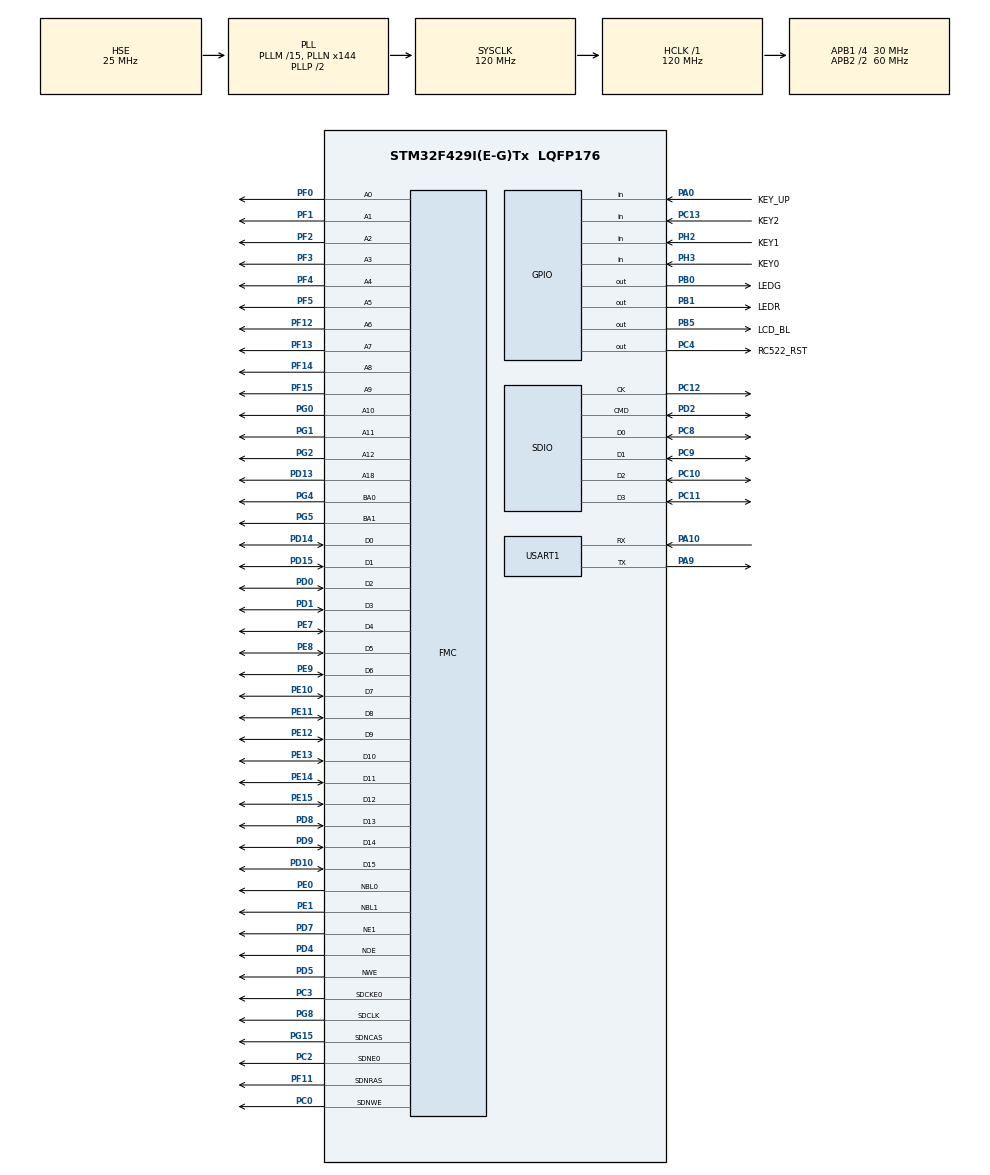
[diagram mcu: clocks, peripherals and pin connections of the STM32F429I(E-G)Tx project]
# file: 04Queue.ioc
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DMA2D.AlphaModeForeground=DMA2D_REPLACE_ALPHA
DMA2D.ColorMode=DMA2D_OUTPUT_RGB565
DMA2D.InputColorModeBackground=DMA2D_INPUT_RGB565
DMA2D.InputColorModeForeground=DMA2D_INPUT_A4
DMA2D.Mode=DMA2D_M2M_BLEND
Dma.MEMTOMEM.1.Direction=DMA_MEMORY_TO_MEMORY
Dma.MEMTOMEM.1.FIFOMode=DMA_FIFOMODE_ENABLE
Dma.MEMTOMEM.1.FIFOThreshold=DMA_FIFO_THRESHOLD_FULL
Dma.MEMTOMEM.1.Instance=DMA2_Stream0
Dma.MEMTOMEM.1.MemBurst=DMA_MBURST_SINGLE
Dma.MEMTOMEM.1.MemDataAlignment=DMA_MDATAALIGN_HALFWORD
Dma.MEMTOMEM.1.MemInc=DMA_MINC_DISABLE
Dma.MEMTOMEM.1.Mode=DMA_NORMAL
Dma.MEMTOMEM.1.PeriphBurst=DMA_PBURST_SINGLE
Dma.MEMTOMEM.1.PeriphDataAlignment=DMA_PDATAALIGN_HALFWORD
Dma.MEMTOMEM.1.PeriphInc=DMA_PINC_ENABLE
Dma.MEMTOMEM.1.Priority=DMA_PRIORITY_LOW
Dma.Request0=USART1_RX
Dma.Request1=MEMTOMEM
Dma.Request2=SDIO_RX
Dma.Request3=SDIO_TX
Dma.SDIO_RX.2.Direction=DMA_PERIPH_TO_MEMORY
Dma.SDIO_RX.2.FIFOMode=DMA_FIFOMODE_ENABLE
Dma.SDIO_RX.2.FIFOThreshold=DMA_FIFO_THRESHOLD_FULL
Dma.SDIO_RX.2.Instance=DMA2_Stream3
Dma.SDIO_RX.2.MemBurst=DMA_MBURST_INC4
Dma.SDIO_RX.2.MemDataAlignment=DMA_MDATAALIGN_WORD
Dma.SDIO_RX.2.MemInc=DMA_MINC_ENABLE
Dma.SDIO_RX.2.Mode=DMA_PFCTRL
Dma.SDIO_RX.2.PeriphBurst=DMA_PBURST_INC4
Dma.SDIO_RX.2.PeriphDataAlignment=DMA_PDATAALIGN_WORD
Dma.SDIO_RX.2.PeriphInc=DMA_PINC_DISABLE
Dma.SDIO_RX.2.Priority=DMA_PRIORITY_HIGH
Dma.SDIO_TX.3.Direction=DMA_MEMORY_TO_PERIPH
Dma.SDIO_TX.3.FIFOMode=DMA_FIFOMODE_ENABLE
Dma.SDIO_TX.3.FIFOThreshold=DMA_FIFO_THRESHOLD_FULL
Dma.SDIO_TX.3.Instance=DMA2_Stream6
Dma.SDIO_TX.3.MemBurst=DMA_MBURST_INC4
Dma.SDIO_TX.3.MemDataAlignment=DMA_MDATAALIGN_WORD
Dma.SDIO_TX.3.MemInc=DMA_MINC_ENABLE
Dma.SDIO_TX.3.Mode=DMA_PFCTRL
Dma.SDIO_TX.3.PeriphBurst=DMA_PBURST_INC4
Dma.SDIO_TX.3.PeriphDataAlignment=DMA_PDATAALIGN_WORD
Dma.SDIO_TX.3.PeriphInc=DMA_PINC_DISABLE
Dma.SDIO_TX.3.Priority=DMA_PRIORITY_HIGH
Dma.USART1_RX.0.Direction=DMA_PERIPH_TO_MEMORY
Dma.USART1_RX.0.FIFOMode=DMA_FIFOMODE_DISABLE
Dma.USART1_RX.0.Instance=DMA2_Stream2
Dma.USART1_RX.0.MemDataAlignment=DMA_MDATAALIGN_BYTE
Dma.USART1_RX.0.MemInc=DMA_MINC_ENABLE
Dma.USART1_RX.0.Mode=DMA_NORMAL
Dma.USART1_RX.0.PeriphDataAlignment=DMA_PDATAALIGN_BYTE
Dma.USART1_RX.0.PeriphInc=DMA_PINC_DISABLE
Dma.USART1_RX.0.Priority=DMA_PRIORITY_LOW
FATFS._CODE_PAGE=936
FATFS._FS_EXFAT=1
FATFS._FS_LOCK=10
FATFS._FS_REENTRANT=1
FATFS._FS_TINY=1
FATFS._LFN_UNICODE=1
FATFS._MAX_SS=4096
FATFS._USE_LFN=3
FATFS._USE_MUTEX=1
FMC.CASLatency1=FMC_SDRAM_CAS_LATENCY_2
FMC.ColumnBitsNumber1=FMC_SDRAM_COLUMN_BITS_NUM_9
FMC.ExitSelfRefreshDelay1=7
FMC.LoadToActiveDelay1=2
FMC.RPDelay1=2
FMC.RPDelay2=2
FMC.ReadBurst1=FMC_SDRAM_RBURST_ENABLE
FMC.ReadBurst2=FMC_SDRAM_RBURST_ENABLE
FMC.RowCycleDelay1=6
FMC.RowCycleDelay2=6
FMC.SDClockPeriod1=FMC_SDRAM_CLOCK_PERIOD_2
FMC.SDClockPeriod2=FMC_SDRAM_CLOCK_PERIOD_2
FMC.SelfRefreshTime1=4
FMC.WriteRecoveryTime1=2
FREERTOS.Queues01=Queue_Keys,16,KeyMessage_t,0,Dynamic,NULL,NULL
FREERTOS.Tasks01=Task_SYS_INIT,55,512,AppTask_SYS_INIT,Default,NULL,Dynamic,NULL,NULL;Task_usart1,24,1024,AppTask_usart1,Default,NULL,Dynamic,NULL,NULL;Task_Draw,16,256,App_Task_Draw,Default,NULL,Dynamic,NULL,NULL;Task_ScanKeys,24,128,App_Task_ScanKeys,Default,NULL,Dynamic,NULL,NULL
FREERTOS.configGENERATE_RUN_TIME_STATS=1
FREERTOS.configUSE_STATS_FORMATTING_FUNCTIONS=1
Mcu.Family=STM32F4
Mcu.Name=STM32F429I(E-G)Tx
Mcu.Package=LQFP176
NVIC.DMA2D_IRQn=true\:5\:0\:false\:false\:true\:true\:true\:true\:true
NVIC.DMA2_Stream0_IRQn=true\:5\:0\:false\:false\:true\:false\:true\:true\:true
NVIC.DMA2_Stream2_IRQn=true\:5\:0\:false\:false\:true\:true\:false\:true\:true
NVIC.DMA2_Stream3_IRQn=true\:5\:0\:false\:false\:true\:true\:false\:true\:true
NVIC.DMA2_Stream6_IRQn=true\:5\:0\:false\:false\:true\:true\:false\:true\:true
NVIC.PriorityGroup=NVIC_PRIORITYGROUP_4
NVIC.SDIO_IRQn=true\:5\:0\:false\:false\:true\:true\:true\:true\:true
NVIC.TIM6_DAC_IRQn=true\:15\:0\:true\:false\:true\:false\:false\:true\:true
NVIC.TimeBase=TIM6_DAC_IRQn
NVIC.TimeBaseIP=TIM6
NVIC.USART1_IRQn=true\:5\:0\:false\:false\:true\:true\:true\:true\:true
PA0/WKUP.GPIO_Label=KEY_UP
PA0/WKUP.Signal=GPIO_Input
PA10.Mode=Asynchronous
PA10.Signal=USART1_RX
PA13.Mode=Serial_Wire
PA13.Signal=SYS_JTMS-SWDIO
PA14.Mode=Serial_Wire
PA14.Signal=SYS_JTCK-SWCLK
PA9.Mode=Asynchronous
PA9.Signal=USART1_TX
PB0.GPIO_Label=LEDG
PB0.Signal=GPIO_Output
PB1.GPIO_Label=LEDR
PB1.PinState=GPIO_PIN_SET
PB1.Signal=GPIO_Output
PB5.GPIO_Label=LCD_BL
PB5.GPIO_Speed=GPIO_SPEED_FREQ_HIGH
PB5.PinState=GPIO_PIN_SET
PB5.Signal=GPIO_Output
PC0.Signal=FMC_SDNWE
PC10.Mode=SD_4_bits_Wide_bus
PC10.Signal=SDIO_D2
PC11.Mode=SD_4_bits_Wide_bus
PC11.Signal=SDIO_D3
PC12.Mode=SD_4_bits_Wide_bus
PC12.Signal=SDIO_CK
PC13.GPIO_Label=KEY2
PC13.Signal=GPIO_Input
PC14/OSC32_IN.Mode=LSE-External-Oscillator
PC14/OSC32_IN.Signal=RCC_OSC32_IN
PC15/OSC32_OUT.Mode=LSE-External-Oscillator
PC15/OSC32_OUT.Signal=RCC_OSC32_OUT
PC2.Mode=SdramChipSelect1_1
PC2.Signal=FMC_SDNE0
PC3.Mode=SdramChipSelect1_1
PC3.Signal=FMC_SDCKE0
PC4.GPIO_Label=RC522_RST
PC4.Signal=GPIO_Output
PC8.Mode=SD_4_bits_Wide_bus
PC8.Signal=SDIO_D0
PC9.Mode=SD_4_bits_Wide_bus
PC9.Signal=SDIO_D1
PD0.Signal=FMC_D2_DA2
PD1.Signal=FMC_D3_DA3
PD10.Signal=FMC_D15_DA15
PD13.Signal=FMC_A18
PD14.Signal=FMC_D0_DA0
PD15.Signal=FMC_D1_DA1
PD2.Mode=SD_4_bits_Wide_bus
PD2.Signal=SDIO_CMD
PD4.Signal=FMC_NOE
PD5.Signal=FMC_NWE
PD7.Mode=NorPsramChipSelect1_1
PD7.Signal=FMC_NE1
PD8.Signal=FMC_D13_DA13
PD9.Signal=FMC_D14_DA14
PE0.Signal=FMC_NBL0
PE1.Signal=FMC_NBL1
PE10.Signal=FMC_D7_DA7
PE11.Signal=FMC_D8_DA8
PE12.Signal=FMC_D9_DA9
PE13.Signal=FMC_D10_DA10
PE14.Signal=FMC_D11_DA11
PE15.Signal=FMC_D12_DA12
PE7.Signal=FMC_D4_DA4
PE8.Signal=FMC_D5_DA5
PE9.Signal=FMC_D6_DA6
PF0.Signal=FMC_A0
PF1.Signal=FMC_A1
PF11.Signal=FMC_SDNRAS
PF12.Signal=FMC_A6
PF13.Signal=FMC_A7
PF14.Signal=FMC_A8
PF15.Signal=FMC_A9
PF2.Signal=FMC_A2
PF3.Signal=FMC_A3
PF4.Signal=FMC_A4
PF5.Signal=FMC_A5
PG0.Signal=FMC_A10
PG1.Signal=FMC_A11
PG15.Signal=FMC_SDNCAS
PG2.Signal=FMC_A12
PG4.Signal=FMC_A14_BA0
PG5.Signal=FMC_A15_BA1
PG8.Signal=FMC_SDCLK
PH0/OSC_IN.Mode=HSE-External-Oscillator
PH0/OSC_IN.Signal=RCC_OSC_IN
PH1/OSC_OUT.Mode=HSE-External-Oscillator
PH1/OSC_OUT.Signal=RCC_OSC_OUT
PH2.GPIO_Label=KEY1
PH2.Signal=GPIO_Input
PH3.GPIO_Label=KEY0
PH3.Signal=GPIO_Input
ProjectManager.HeapSize=0x2000
ProjectManager.StackSize=0x2000
ProjectManager.TargetToolchain=CMake
RCC.48MHZClocksFreq_Value=48000000
RCC.AHBFreq_Value=120000000
RCC.APB1CLKDivider=RCC_HCLK_DIV4
RCC.APB1Freq_Value=30000000
RCC.APB1TimFreq_Value=60000000
RCC.APB2CLKDivider=RCC_HCLK_DIV2
RCC.APB2Freq_Value=60000000
RCC.APB2TimFreq_Value=120000000
RCC.CortexFreq_Value=120000000
RCC.HCLKFreq_Value=120000000
RCC.HSE_VALUE=25000000
RCC.HSI_VALUE=16000000
RCC.PLLM=15
RCC.PLLN=144
RCC.PLLQ=5
RCC.PLLSAIN=100
RCC.PLLSourceVirtual=RCC_PLLSOURCE_HSE
RCC.RCC_RTC_Clock_Source=RCC_RTCCLKSOURCE_LSE
RCC.RCC_RTC_Clock_SourceVirtual=RCC_RTCCLKSOURCE_LSE
RCC.SYSCLKFreq_VALUE=120000000
RCC.SYSCLKSource=RCC_SYSCLKSOURCE_PLLCLK
RCC.VCOOutputFreq_Value=240000000
RTC.Date=10
RTC.Month=RTC_MONTH_MARCH
RTC.WeekDay=RTC_WEEKDAY_TUESDAY
RTC.Year=26
SDIO.ClockDiv=4
SH.FMC_A0.0=FMC_A0,13b-sda1
SH.FMC_A1.0=FMC_A1,13b-sda1
SH.FMC_A10.0=FMC_A10,13b-sda1
SH.FMC_A11.0=FMC_A11,13b-sda1
SH.FMC_A12.0=FMC_A12,13b-sda1
SH.FMC_A14_BA0.0=FMC_BA0,FourSdramBanks1
SH.FMC_A15_BA1.0=FMC_BA1,FourSdramBanks1
SH.FMC_A18.0=FMC_A18,A18_1
SH.FMC_A2.0=FMC_A2,13b-sda1
SH.FMC_A3.0=FMC_A3,13b-sda1
SH.FMC_A4.0=FMC_A4,13b-sda1
SH.FMC_A5.0=FMC_A5,13b-sda1
SH.FMC_A6.0=FMC_A6,13b-sda1
SH.FMC_A7.0=FMC_A7,13b-sda1
SH.FMC_A8.0=FMC_A8,13b-sda1
SH.FMC_A9.0=FMC_A9,13b-sda1
SH.FMC_D0_DA0.0=FMC_D0,16b-d1
SH.FMC_D0_DA0.1=FMC_D0,sd-16b-d1
SH.FMC_D10_DA10.0=FMC_D10,16b-d1
SH.FMC_D10_DA10.1=FMC_D10,sd-16b-d1
SH.FMC_D11_DA11.0=FMC_D11,16b-d1
SH.FMC_D11_DA11.1=FMC_D11,sd-16b-d1
SH.FMC_D12_DA12.0=FMC_D12,16b-d1
SH.FMC_D12_DA12.1=FMC_D12,sd-16b-d1
SH.FMC_D13_DA13.0=FMC_D13,16b-d1
SH.FMC_D13_DA13.1=FMC_D13,sd-16b-d1
SH.FMC_D14_DA14.0=FMC_D14,16b-d1
SH.FMC_D14_DA14.1=FMC_D14,sd-16b-d1
SH.FMC_D15_DA15.0=FMC_D15,16b-d1
SH.FMC_D15_DA15.1=FMC_D15,sd-16b-d1
SH.FMC_D1_DA1.0=FMC_D1,16b-d1
SH.FMC_D1_DA1.1=FMC_D1,sd-16b-d1
SH.FMC_D2_DA2.0=FMC_D2,16b-d1
SH.FMC_D2_DA2.1=FMC_D2,sd-16b-d1
SH.FMC_D3_DA3.0=FMC_D3,16b-d1
SH.FMC_D3_DA3.1=FMC_D3,sd-16b-d1
SH.FMC_D4_DA4.0=FMC_D4,16b-d1
SH.FMC_D4_DA4.1=FMC_D4,sd-16b-d1
SH.FMC_D5_DA5.0=FMC_D5,16b-d1
SH.FMC_D5_DA5.1=FMC_D5,sd-16b-d1
SH.FMC_D6_DA6.0=FMC_D6,16b-d1
SH.FMC_D6_DA6.1=FMC_D6,sd-16b-d1
SH.FMC_D7_DA7.0=FMC_D7,16b-d1
SH.FMC_D7_DA7.1=FMC_D7,sd-16b-d1
SH.FMC_D8_DA8.0=FMC_D8,16b-d1
SH.FMC_D8_DA8.1=FMC_D8,sd-16b-d1
SH.FMC_D9_DA9.0=FMC_D9,16b-d1
SH.FMC_D9_DA9.1=FMC_D9,sd-16b-d1
SH.FMC_NBL0.0=FMC_NBL0,Sd2ByteEnable1
SH.FMC_NBL1.0=FMC_NBL1,Sd2ByteEnable1
SH.FMC_NOE.0=FMC_NOE,Lcd1
SH.FMC_NWE.0=FMC_NWE,Lcd1
SH.FMC_SDCLK.0=FMC_SDCLK,13b-sda1
SH.FMC_SDNCAS.0=FMC_SDNCAS,13b-sda1
SH.FMC_SDNRAS.0=FMC_SDNRAS,13b-sda1
SH.FMC_SDNWE.0=FMC_SDNWE,13b-sda1
USART1.VirtualMode=VM_ASYNC
VP_DMA2D_VS_DMA2D.Mode=DMA2D_Activate
VP_FATFS_VS_SDIO.Mode=SDIO
VP_FREERTOS_VS_CMSIS_V2.Mode=CMSIS_V2
VP_RTC_VS_RTC_Activate.Mode=RTC_Enabled
VP_RTC_VS_RTC_Calendar.Mode=RTC_Calendar
VP_SYS_VS_tim6.Mode=TIM6
board=custom

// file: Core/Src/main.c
/* USER CODE BEGIN Header */
/**
  ******************************************************************************
  * @file           : main.c
  * @brief          : Main program body
  ******************************************************************************
  * @attention
  *
  * Copyright (c) 2026 STMicroelectronics.
  * All rights reserved.
  *
  * This software is licensed under terms that can be found in the LICENSE file
  * in the root directory of this software component.
  * If no LICENSE file comes with this software, it is provided AS-IS.
  *
  ******************************************************************************
  */
/* USER CODE END Header */
#include "main.h"
#include "cmsis_os.h"
#include "dma.h"
#include "dma2d.h"
#include "fatfs.h"
#include "rtc.h"
#include "sdio.h"
#include "usart.h"
#include "gpio.h"
#include "fmc.h"

/* USER CODE BEGIN Includes */
#include "../../ThirdParty/MyLib/myinclude.h"
/* USER CODE END Includes */

void SystemClock_Config(void);
void MX_FREERTOS_Init(void);

int main(void)
{

  /* MCU Configuration--------------------------------------------------------*/

  /* Reset of all peripherals, Initializes the Flash interface and the Systick. */
  HAL_Init();

  /* Configure the system clock */
  SystemClock_Config();

  /* Initialize all configured peripherals */
  MX_GPIO_Init();
  MX_DMA_Init();
  MX_FMC_Init();
  MX_USART1_UART_Init();
  MX_RTC_Init();
  MX_DMA2D_Init();
  MX_SDIO_SD_Init();
  MX_FATFS_Init();
  /* USER CODE BEGIN 2 */
  //============================== 初始化 USART1  =============================
  MyUSART_Init();
  //==============================  初始化 SDRAM  =============================
  SDRAM_InitSequence();
  /** =============================初始化 LCD 屏幕============================= */
  lcd_init();
  lcd_clear(BLACK);
  lcd_dma2d_init();     // 初始化 DMA2D 缓存模块
  lcd_dma2d_clear(BLACK);

  // ============================= 初始化EUBF  =============================
    EUBF_Port_Config_t font_sd_config = {
        .Open     = SD_FastSlot_Open_UTF8,  // 完美的接口匹配！
        .Close    = (void (*)(int8_t))SD_FastSlot_Close, // 强转一下避免警告
        .ReadAt   = SD_FastSlot_Read,       // 完美的参数匹配！
        .RootPath = "0:/"                   // SD卡的根目录
    };
    EUBF_Init(&font_sd_config);

  /* USER CODE END 2 */

  /* Init scheduler */
  osKernelInitialize();  /* Call init function for freertos objects (in cmsis_os2.c) */
  MX_FREERTOS_Init();

  /* Start scheduler */
  osKernelStart();

  /* We should never get here as control is now taken by the scheduler */

  /* Infinite loop */
  while (1)
  {

  }
}

void SystemClock_Config(void)
{
  RCC_OscInitTypeDef RCC_OscInitStruct = {0};
  RCC_ClkInitTypeDef RCC_ClkInitStruct = {0};

  /** Configure the main internal regulator output voltage
  */
  __HAL_RCC_PWR_CLK_ENABLE();
  __HAL_PWR_VOLTAGESCALING_CONFIG(PWR_REGULATOR_VOLTAGE_SCALE3);

  /** Initializes the RCC Oscillators according to the specified parameters
  * in the RCC_OscInitTypeDef structure.
  */
  RCC_OscInitStruct.OscillatorType = RCC_OSCILLATORTYPE_HSE|RCC_OSCILLATORTYPE_LSE;
  RCC_OscInitStruct.HSEState = RCC_HSE_ON;
  RCC_OscInitStruct.LSEState = RCC_LSE_ON;
  RCC_OscInitStruct.PLL.PLLState = RCC_PLL_ON;
  RCC_OscInitStruct.PLL.PLLSource = RCC_PLLSOURCE_HSE;
  RCC_OscInitStruct.PLL.PLLM = 15;
  RCC_OscInitStruct.PLL.PLLN = 144;
  RCC_OscInitStruct.PLL.PLLP = RCC_PLLP_DIV2;
  RCC_OscInitStruct.PLL.PLLQ = 5;
  if (HAL_RCC_OscConfig(&RCC_OscInitStruct) != HAL_OK)
  {
    Error_Handler();
  }

  /** Initializes the CPU, AHB and APB buses clocks
  */
  RCC_ClkInitStruct.ClockType = RCC_CLOCKTYPE_HCLK|RCC_CLOCKTYPE_SYSCLK
                              |RCC_CLOCKTYPE_PCLK1|RCC_CLOCKTYPE_PCLK2;
  RCC_ClkInitStruct.SYSCLKSource = RCC_SYSCLKSOURCE_PLLCLK;
  RCC_ClkInitStruct.AHBCLKDivider = RCC_SYSCLK_DIV1;
  RCC_ClkInitStruct.APB1CLKDivider = RCC_HCLK_DIV4;
  RCC_ClkInitStruct.APB2CLKDivider = RCC_HCLK_DIV2;

  if (HAL_RCC_ClockConfig(&RCC_ClkInitStruct, FLASH_LATENCY_3) != HAL_OK)
  {
    Error_Handler();
  }
}

void HAL_TIM_PeriodElapsedCallback(TIM_HandleTypeDef *htim)
{
  if (htim->Instance == TIM6)
  {
    HAL_IncTick();
  }
}

void Error_Handler(void)
{
  __disable_irq();
  while (1)
  {
  }
}

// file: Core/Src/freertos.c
/* USER CODE BEGIN Header */
/**
  ******************************************************************************
  * File Name          : freertos.c
  * Description        : Code for freertos applications
  ******************************************************************************
  * @attention
  *
  * Copyright (c) 2026 STMicroelectronics.
  * All rights reserved.
  *
  * This software is licensed under terms that can be found in the LICENSE file
  * in the root directory of this software component.
  * If no LICENSE file comes with this software, it is provided AS-IS.
  *
  ******************************************************************************
  */
/* USER CODE END Header */

#include "FreeRTOS.h"
#include "LED.h"
#include "task.h"
#include "main.h"
#include "cmsis_os.h"

/* USER CODE BEGIN Includes */
#include "../../ThirdParty/MyLib/myinclude.h"
#include "queue.h"
/* USER CODE END Includes */

/* USER CODE BEGIN PTD */
typedef struct {
    KeyID_t    key_id;        // 哪个键
    KeyEvent_t event;         // 发生了什么事件 (短按/长按)
} KeyMessage_t;
/* USER CODE END PTD */

/* Definitions for Task_SYS_INIT */
osThreadId_t Task_SYS_INITHandle;
const osThreadAttr_t Task_SYS_INIT_attributes = {
  .name = "Task_SYS_INIT",
  .stack_size = 512 * 4,
  .priority = (osPriority_t) osPriorityRealtime7,
};
/* Definitions for Task_usart1 */
osThreadId_t Task_usart1Handle;
const osThreadAttr_t Task_usart1_attributes = {
  .name = "Task_usart1",
  .stack_size = 1024 * 4,
  .priority = (osPriority_t) osPriorityNormal,
};
/* Definitions for Task_Draw */
osThreadId_t Task_DrawHandle;
const osThreadAttr_t Task_Draw_attributes = {
  .name = "Task_Draw",
  .stack_size = 256 * 4,
  .priority = (osPriority_t) osPriorityBelowNormal,
};
/* Definitions for Task_ScanKeys */
osThreadId_t Task_ScanKeysHandle;
const osThreadAttr_t Task_ScanKeys_attributes = {
  .name = "Task_ScanKeys",
  .stack_size = 128 * 4,
  .priority = (osPriority_t) osPriorityNormal,
};
/* Definitions for Queue_Keys */
osMessageQueueId_t Queue_KeysHandle;
const osMessageQueueAttr_t Queue_Keys_attributes = {
  .name = "Queue_Keys"
};

void AppTask_SYS_INIT(void *argument);
void AppTask_usart1(void *argument);
void App_Task_Draw(void *argument);
void App_Task_ScanKeys(void *argument);

void MX_FREERTOS_Init(void); /* (MISRA C 2004 rule 8.1) */

/* Hook prototypes */
void configureTimerForRunTimeStats(void);
unsigned long getRunTimeCounterValue(void);

/* USER CODE BEGIN 1 */
/* Functions needed when configGENERATE_RUN_TIME_STATS is on */
__weak void configureTimerForRunTimeStats(void)
{

}

__weak unsigned long getRunTimeCounterValue(void)
{
return 0;
}
/* USER CODE END 1 */

void MX_FREERTOS_Init(void) {

  /* Create the queue(s) */
  /* creation of Queue_Keys */
  Queue_KeysHandle = osMessageQueueNew (16, sizeof(KeyMessage_t), &Queue_Keys_attributes);

  /* Create the thread(s) */
  /* creation of Task_SYS_INIT */
  Task_SYS_INITHandle = osThreadNew(AppTask_SYS_INIT, NULL, &Task_SYS_INIT_attributes);

  /* creation of Task_usart1 */
  Task_usart1Handle = osThreadNew(AppTask_usart1, NULL, &Task_usart1_attributes);

  /* creation of Task_Draw */
  Task_DrawHandle = osThreadNew(App_Task_Draw, NULL, &Task_Draw_attributes);

  /* creation of Task_ScanKeys */
  Task_ScanKeysHandle = osThreadNew(App_Task_ScanKeys, NULL, &Task_ScanKeys_attributes);

}

void AppTask_SYS_INIT(void *argument)
{
  /* USER CODE BEGIN AppTask_SYS_INIT */
  /* Infinite loop */
  for(;;)
  {
    SD_Mount_StateMachine();
    if(SD_Is_Mounted() == 1){
      //printf("SD Card Mounted Successfully!\r\n");
      char  queuename[64];
      sprintf(queuename, "Queue_name: %s", pcQueueGetQueueName(Queue_KeysHandle));
      lcd_dma2d_show_eubf_str(0, 12, (char*)queuename, "余繁新语", 12, WHITE);
      sprintf(queuename, "Queue length: %d", uxQueueSpacesAvailable(Queue_KeysHandle));
      lcd_dma2d_show_eubf_str(0, 24, (char*)queuename, "余繁新语", 12, WHITE);
      lcd_dma2d_update_screen();
      vTaskDelete(NULL);
    }
    osDelay(1);
  }
  /* USER CODE END AppTask_SYS_INIT */
}

void AppTask_usart1(void *argument)
{
  /* USER CODE BEGIN AppTask_usart1 */
  /* Infinite loop */
  for(;;)
  {
    osDelay(500);
  }
  /* USER CODE END AppTask_usart1 */
}

void App_Task_Draw(void *argument)
{
  /* USER CODE BEGIN App_Task_Draw */
  KeyMessage_t msg;

  uint8_t  line_count = 0;          // 记录当前屏幕上已经打印了多少行
  uint16_t current_y = 0;           // 记录当前准备打印的 Y 坐标

  const uint16_t START_Y = 24;      // 第一行文字的起始 Y 坐标
  const uint16_t LINE_SPACING = 26; // 行距（字体是24，行距设为26能留出2像素的清爽空白）
  const uint16_t FONT_SIZE = 24;    // 字体大小
  uint8_t is_first_message = 1; // 标志位，记录是否是第一条消息
  /* Infinite loop */
  for(;;)
  {
    // 阻塞等待队列消息
    if (xQueueReceive(Queue_KeysHandle, &msg, portMAX_DELAY) == pdTRUE)
    {
        if(is_first_message) {
            // 收到第一条消息时，清屏并重置行计数器
            lcd_dma2d_clear(BLACK);
            line_count = 0;
            is_first_message = 0; // 设置标志位，后续消息不再清屏
        }
        // 判断是否需要清屏（满 9 条则清空）
        if (line_count >= 9)
        {
            lcd_dma2d_clear(BLACK);
            line_count = 0; // 行计数器归零
        }

        // 计算本次打印的 Y 坐标
        current_y = START_Y + (line_count * LINE_SPACING);

        // 根据按键消息打印对应内容（注意 Y 坐标换成了 current_y）
        switch (msg.key_id)
        {
            case KEY0:
                if (msg.event == KEY_EVENT_PRESS) {
                    lcd_dma2d_show_eubf_str(0, current_y, (char*)"KEY0: 按顺序", "字酷堂板桥体", FONT_SIZE, WHITE);
                }
                else if (msg.event == KEY_EVENT_LONG_PRESS) {
                    lcd_dma2d_show_eubf_str(0, current_y, (char*)"KEY0: 长按！", "字酷堂板桥体", FONT_SIZE, YELLOW);
                }
                break;

            case KEY1:
                if (msg.event == KEY_EVENT_PRESS) {
                    lcd_dma2d_show_eubf_str(0, current_y, (char*)"KEY1: 按顺序", "字酷堂板桥体", FONT_SIZE, WHITE);
                }
                break;

            case KEY2:
                if (msg.event == KEY_EVENT_PRESS) {
                    lcd_dma2d_show_eubf_str(0, current_y, (char*)"KEY2: 按顺序", "字酷堂板桥体", FONT_SIZE, WHITE);
                }
                break;

            case KEY_UP:
                if (msg.event == KEY_EVENT_PRESS) {
                    // KEY_UP 是高优先级的插队消息，换红色
                    lcd_dma2d_show_eubf_str(0, current_y, (char*)"KEY_UP: 插队啦", "字酷堂板桥体", FONT_SIZE, RED);
                }
                break;

            default:
                break;
        }

        // 将绘制内容推送到物理屏幕上
        lcd_dma2d_update_screen();

        // 行数加 1
        line_count++;

        osDelay(1000);
    }
  }
  /* USER CODE END App_Task_Draw */
}

void App_Task_ScanKeys(void *argument)
{
  /* USER CODE BEGIN App_Task_ScanKeys */

  // 1. 实例化并初始化所有按键对象
  KeyDevice_t keys[KEY_NUM] = {
      {.id = KEY0,   .last_state = 0, .press_tick = 0, .is_long_pressed = 0},
      {.id = KEY1,   .last_state = 0, .press_tick = 0, .is_long_pressed = 0},
      {.id = KEY2,   .last_state = 0, .press_tick = 0, .is_long_pressed = 0},
      {.id = KEY_UP, .last_state = 0, .press_tick = 0, .is_long_pressed = 0}
  };

  KeyMessage_t msg; // 用于发送队列的局部变量

  /* Infinite loop */
  for(;;)
  {
    for(int i = 0; i < KEY_NUM; i++)
    {
      // 读取当前按键状态
      keys[i].current_state = myGetKeyPressStateByID(keys[i].id);

      // --- 状态机逻辑开始 ---
      if (keys[i].current_state == 1)
      {
         // 状态：正在被按下
         if (keys[i].last_state == 0)
         {
             // 动作：刚刚按下 (上升沿)
             keys[i].press_tick = 0;
             keys[i].is_long_pressed = 0; // 清除长按标志
         }
         else
         {
             // 动作：一直按住不松 (持续高电平)
             keys[i].press_tick++;

             // 判断：达到长按时间阈值 且 尚未触发过长按
             if (keys[i].press_tick >= KEY_LONG_PRESS_TICK && !keys[i].is_long_pressed)
             {
                 keys[i].is_long_pressed = 1; // 锁定标志位，防止疯狂触发

                 msg.key_id = keys[i].id;
                 msg.event  = KEY_EVENT_LONG_PRESS; // 产生长按事件

                 // 发送消息入队 (KEY_UP 享受 VIP 插队待遇)
                 if (msg.key_id == KEY_UP) {
                     xQueueSendToFront(Queue_KeysHandle, &msg, 0);
                 } else {
                     xQueueSend(Queue_KeysHandle, &msg, 0);
                 }
             }
         }
      }
      else
      {
         // 状态：处于松开状态
         if (keys[i].last_state == 1)
         {
             // 动作：刚刚松开手 (下降沿)

             // 如果松手前【没有】触发过长按，并且按下的时间大于消抖时间，则判定为“短按”
             if (!keys[i].is_long_pressed && keys[i].press_tick >= KEY_DEBOUNCE_TICK)
             {
                 msg.key_id = keys[i].id;
                 msg.event  = KEY_EVENT_PRESS; // 产生短按事件

                 if (msg.key_id == KEY_UP) {
                     xQueueSendToFront(Queue_KeysHandle, &msg, 0);
                 } else {
                     xQueueSend(Queue_KeysHandle, &msg, 0);
                 }
             }
         }
         // 动作：松开后清空计时器，为下一次按下做准备
         keys[i].press_tick = 0;
      }

      // 更新历史状态
      keys[i].last_state = keys[i].current_state;
    }
    LEDG_Toggle();

    osDelay(20);
  }
  /* USER CODE END App_Task_ScanKeys */
}
